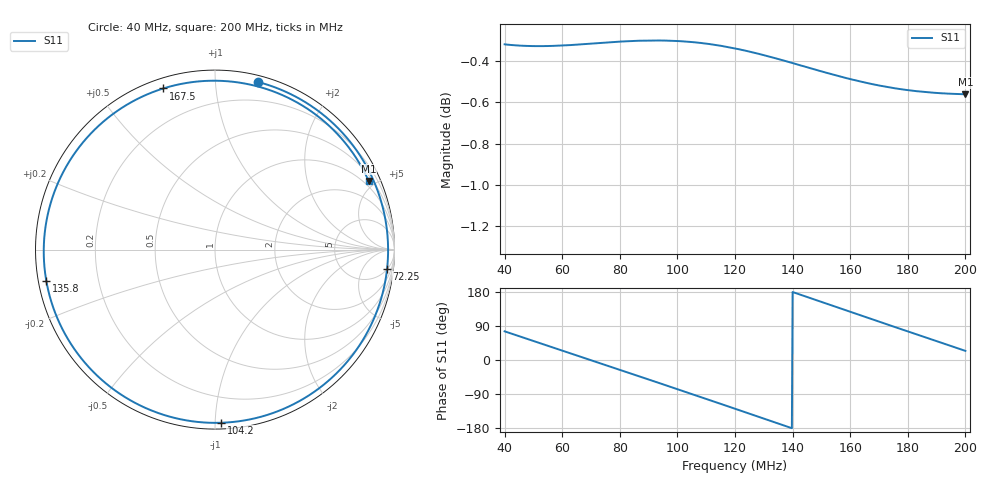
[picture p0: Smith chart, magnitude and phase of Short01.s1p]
# Hz S RI R 50
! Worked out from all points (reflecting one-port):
!   641 points, 40 MHz to 200 MHz, reference 50 ohm
!   lowest |S11| = -0.6 dB at 200 MHz (marker M1), VSWR 31.00, Z = 36.2 + j229 ohm
!   phase of S11 starts at 76 deg and turns -412 deg over the sweep
!   S11 on the Smith chart (normalised r, x): 40 MHz: 0.05, +1.29; 72.25 MHz: 5, -16; 104.2 MHz: 0.04, -1.04; 135.8 MHz: 0.02, -0.09; 167.5 MHz: 0.05, +0.73; 200 MHz: 0.72, +4.58
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4e7  0.2391 0.934
4.45e7  0.42 0.8671
4.925e7  0.5921 0.7597
5.475e7  0.758 0.5942
6e7  0.8748 0.4037
6.625e7  0.9523 0.1497
7.225e7  0.9589 -0.1055
8e7  0.8682 -0.4225
8.5e7  0.7542 -0.6035
9.05e7  0.5857 -0.7683
9.525e7  0.4111 -0.8743
1e8  0.2175 -0.9411
1.0425e8  0.0353 -0.9648
1.12e8  -0.2959 -0.9175
1.2e8  -0.5999 -0.7519
1.2825e8  -0.8306 -0.4793
1.3575e8  -0.94 -0.1734
1.4e8  -0.954 0.0105
1.4475e8  -0.9275 0.2144
1.495e8  -0.858 0.4075
1.545e8  -0.7424 0.5891
1.6e8  -0.5723 0.7527
1.675e8  -0.2877 0.8979
1.7375e8  -0.0259 0.9407
1.8e8  0.2363 0.9095
1.89e8  0.5742 0.7421
1.95e8  0.7501 0.5628
2e8  0.8559 0.3825
